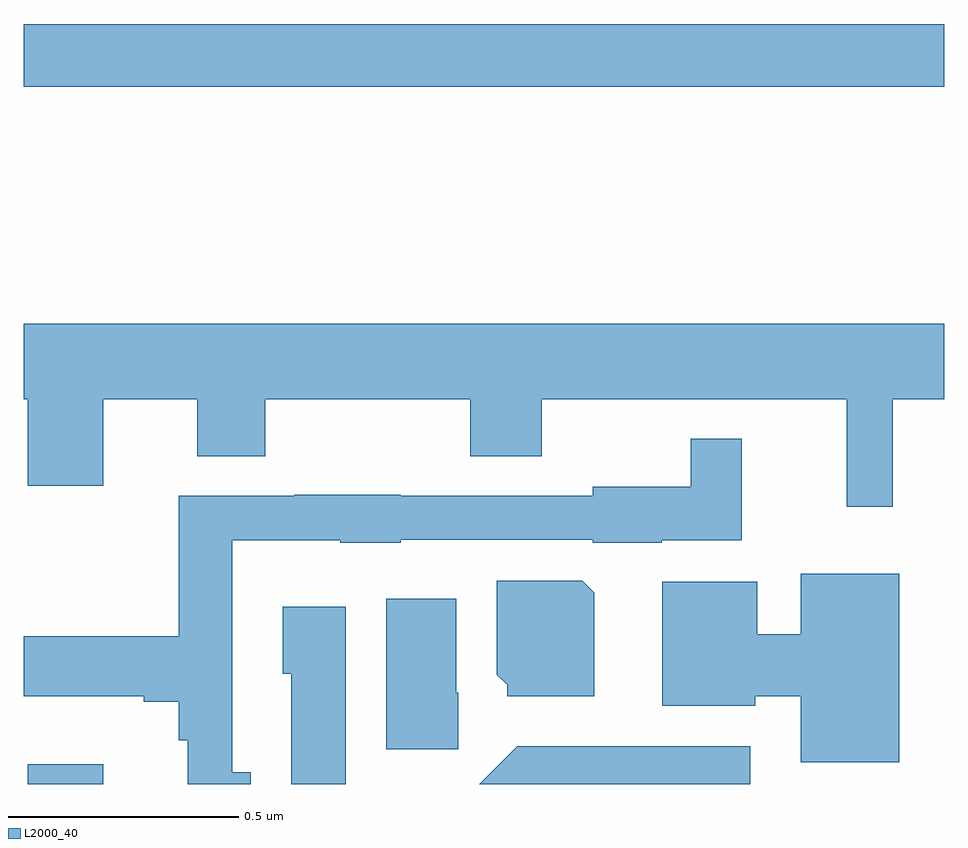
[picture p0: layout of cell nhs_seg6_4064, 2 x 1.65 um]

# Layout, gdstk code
import gdstk
lib = gdstk.Library(unit=1e-6, precision=1e-09)
def R(c, l, rs):  # rectangles x0, y0, x1, y1
    for r in rs: c.add(gdstk.rectangle(r[:2], r[2:], *l))
def P(c, l, *ps):  # polygons
    for p in ps: c.add(gdstk.Polygon(p, *l))
L2000_40 = (2000, 40)

nhs_seg6_4064 = lib.new_cell('nhs_seg6_4064')
R(nhs_seg6_4064, L2000_40, [(165.008,946.5,165.172,946.543), (165,948.016,167,948.152)])
P(nhs_seg6_4064, L2000_40, [(166.889,947.336),(167,947.336),(167,947.5),(165,947.5),(165,947.336),(165.008,947.336),(165.008,947.148),(165.172,947.148),(165.172,947.336),(165.377,947.336),(165.377,947.212),(165.525,947.212),(165.525,947.336),(165.97,947.336),(165.97,947.212),(166.125,947.212),(166.125,947.336),(166.789,947.336),(166.789,947.103),(166.889,947.103)],
  [(165.493,946.526),(165.453,946.526),(165.453,947.03),(165.687,947.03),(165.687,947.024),(165.819,947.024),(165.819,947.031),(166.236,947.031),(166.236,947.024),(166.386,947.024),(166.386,947.03),(166.56,947.03),(166.56,947.251),(166.449,947.251),(166.449,947.146),(166.236,947.146),(166.236,947.127),(165.819,947.127),(165.819,947.129),(165.587,947.129),(165.587,947.127),(165.337,947.127),(165.337,946.821),(165,946.821),(165,946.691),(165.26,946.691),(165.26,946.679),(165.337,946.679),(165.337,946.595),(165.356,946.595),(165.356,946.5),(165.493,946.5)],
  [(166.903,946.957),(166.688,946.957),(166.688,946.826),(166.594,946.826),(166.594,946.94),(166.388,946.94),(166.388,946.67),(166.59,946.67),(166.59,946.691),(166.688,946.691),(166.688,946.547),(166.903,946.547)],
  [(166.24,946.916),(166.214,946.942),(166.028,946.942),(166.028,946.738),(166.05,946.716),(166.05,946.691),(166.24,946.691)],
  [(165.944,946.698),(165.94,946.698),(165.94,946.903),(165.788,946.903),(165.788,946.575),(165.944,946.575)],
  [(165.7,946.885),(165.563,946.885),(165.563,946.74),(165.581,946.74),(165.581,946.5),(165.7,946.5)],
  [(166.579,946.582),(166.072,946.582),(165.99,946.5),(166.579,946.5)])

lib.write_gds('nhs_seg6_4064.gds')
